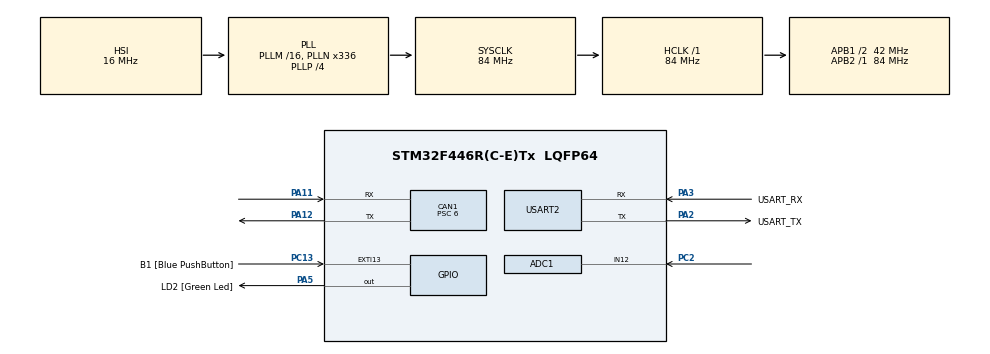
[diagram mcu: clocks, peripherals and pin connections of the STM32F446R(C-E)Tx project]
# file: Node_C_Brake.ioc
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ADC1.Channel-0\#ChannelRegularConversion=ADC_CHANNEL_12
ADC1.NbrOfConversionFlag=1
ADC1.Rank-0\#ChannelRegularConversion=1
ADC1.SamplingTime-0\#ChannelRegularConversion=ADC_SAMPLETIME_3CYCLES
ADC1.master=1
CAN1.BS1=CAN_BS1_11TQ
CAN1.BS2=CAN_BS2_2TQ
CAN1.CalculateBaudRate=500000
CAN1.CalculateTimeBit=2000
CAN1.CalculateTimeQuantum=142.85714285714286
CAN1.NART=ENABLE
CAN1.Prescaler=6
Mcu.Family=STM32F4
Mcu.Name=STM32F446R(C-E)Tx
Mcu.Package=LQFP64
NVIC.CAN1_RX0_IRQn=true\:0\:0\:false\:false\:true\:true\:true\:true
NVIC.PriorityGroup=NVIC_PRIORITYGROUP_0
PA11.GPIO_PuPd=GPIO_PULLUP
PA11.Mode=CAN_Activate
PA11.Signal=CAN1_RX
PA12.Mode=CAN_Activate
PA12.Signal=CAN1_TX
PA13.GPIO_Label=TMS
PA13.Mode=Serial_Wire
PA13.Signal=SYS_JTMS-SWDIO
PA14.GPIO_Label=TCK
PA14.Mode=Serial_Wire
PA14.Signal=SYS_JTCK-SWCLK
PA2.GPIO_Label=USART_TX
PA2.Mode=Asynchronous
PA2.Signal=USART2_TX
PA3.GPIO_Label=USART_RX
PA3.Mode=Asynchronous
PA3.Signal=USART2_RX
PA5.GPIO_Label=LD2 [Green Led]
PA5.Signal=GPIO_Output
PB3.GPIO_Label=SWO
PB3.Signal=SYS_JTDO-SWO
PC13.GPIO_Label=B1 [Blue PushButton]
PC13.GPIO_ModeDefaultEXTI=GPIO_MODE_IT_FALLING
PC13.Signal=GPXTI13
PC14-OSC32_IN.Mode=LSE-External-Oscillator
PC14-OSC32_IN.Signal=RCC_OSC32_IN
PC15-OSC32_OUT.Mode=LSE-External-Oscillator
PC15-OSC32_OUT.Signal=RCC_OSC32_OUT
PC2.Signal=ADCx_IN12
PH0-OSC_IN.Mode=HSE-External-Oscillator
PH0-OSC_IN.Signal=RCC_OSC_IN
PH1-OSC_OUT.Mode=HSE-External-Oscillator
PH1-OSC_OUT.Signal=RCC_OSC_OUT
ProjectManager.HeapSize=0x200
ProjectManager.StackSize=0x400
ProjectManager.TargetToolchain=CMake
RCC.48MHZClocksFreq_Value=84000000
RCC.AHBFreq_Value=84000000
RCC.APB1CLKDivider=RCC_HCLK_DIV2
RCC.APB1Freq_Value=42000000
RCC.APB1TimFreq_Value=84000000
RCC.APB2Freq_Value=84000000
RCC.APB2TimFreq_Value=84000000
RCC.CortexFreq_Value=84000000
RCC.FLatency-AdvancedSettings=FLASH_LATENCY_2
RCC.HCLKFreq_Value=84000000
RCC.HSE_VALUE=8000000
RCC.HSI_VALUE=16000000
RCC.PLLN=336
RCC.PLLP=RCC_PLLP_DIV4
RCC.SYSCLKFreq_VALUE=84000000
RCC.SYSCLKSource=RCC_SYSCLKSOURCE_PLLCLK
RCC.USBFreq_Value=168000000
RCC.VCOOutputFreq_Value=336000000
SH.ADCx_IN12.0=ADC1_IN12,IN12
USART2.VirtualMode=VM_ASYNC
board=NUCLEO-F446RE

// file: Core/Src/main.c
/* USER CODE BEGIN Header */
/**
  ******************************************************************************
  * @file           : main.c
  * @brief          : Main program body
  ******************************************************************************
  * @attention
  *
  * Copyright (c) 2026 STMicroelectronics.
  * All rights reserved.
  *
  * This software is licensed under terms that can be found in the LICENSE file
  * in the root directory of this software component.
  * If no LICENSE file comes with this software, it is provided AS-IS.
  *
  ******************************************************************************
  */
/* USER CODE END Header */
#include "main.h"

/* USER CODE BEGIN Includes */
#include <math.h>
#include <stdint.h>
#include <stdio.h>
#include <string.h>
#include "can_protocol.h"
/* USER CODE END Includes */

ADC_HandleTypeDef hadc1;

CAN_HandleTypeDef hcan1;

UART_HandleTypeDef huart2;

/* USER CODE BEGIN PV */
uint32_t canTxOk = 0;
uint32_t canTxFail = 0;

uint32_t adcRaw = 0;
uint8_t brakePressureInst = 0;
float brakePressureSmoothed = 0.0f;

uint8_t brakeActive = 0;
uint8_t brakeLight = 0;
uint8_t brakeFault = 0;
/* USER CODE END PV */

void SystemClock_Config(void);
static void MX_GPIO_Init(void);
static void MX_ADC1_Init(void);
static void MX_CAN1_Init(void);
static void MX_USART2_UART_Init(void);
/* USER CODE BEGIN PFP */
static uint8_t adc_to_pct(uint32_t adc_raw);
static float clampf(float x, float lo, float hi);
static void uart_brake_debug_print(void);
/* USER CODE END PFP */

/* USER CODE BEGIN 0 */
static float clampf(float x, float lo, float hi)
{
  if (x < lo) return lo;
  if (x > hi) return hi;
  return x;
}

static uint8_t adc_to_pct(uint32_t adc_raw)
{
  if (adc_raw > 4095U) {
    adc_raw = 4095U;
  }

  uint32_t pct = (adc_raw * 100U) / 4095U;

  // Small deadband near 0 to avoid jitter
  if (pct < 3U) {
    pct = 0U;
  }

  if (pct > 100U) {
    pct = 100U;
  }

  return (uint8_t)pct;
}

static void uart_brake_debug_print(void)
{
  char buf[180];

  int n = snprintf(buf, sizeof(buf),
                   "NODE_C BRAKE: ADC=%lu pressure=%u%% sm=%.1f%% active=%u light=%u fault=%u CAN_OK=%lu CAN_FAIL=%lu\r\n",
                   (unsigned long)adcRaw,
                   brakePressureInst,
                   brakePressureSmoothed,
                   brakeActive,
                   brakeLight,
                   brakeFault,
                   (unsigned long)canTxOk,
                   (unsigned long)canTxFail);

  if (n > 0) {
    HAL_UART_Transmit(&huart2, (uint8_t *)buf, (uint16_t)n, 50);
  }
}
/* USER CODE END 0 */

int main(void)
{

  /* MCU Configuration--------------------------------------------------------*/

  /* Reset of all peripherals, Initializes the Flash interface and the Systick. */
  HAL_Init();

  /* Configure the system clock */
  SystemClock_Config();

  /* Initialize all configured peripherals */
  MX_GPIO_Init();
  MX_ADC1_Init();
  MX_CAN1_Init();
  MX_USART2_UART_Init();
  /* USER CODE BEGIN 2 */
  if (HAL_CAN_Start(&hcan1) != HAL_OK) {
    Error_Handler();
  }

  uint32_t lastSenseMs = 0;
  uint32_t lastCanTxMs = 0;
  uint32_t lastUartMs = 0;
  uint32_t lastLedMs = 0;

  const uint32_t SENSE_PERIOD_MS = 10;
  const uint32_t CAN_BRAKE_PERIOD_MS = 50;
  const uint32_t UART_PERIOD_MS = 200;
  const uint32_t LED_PERIOD_MS = 500;

  const float BRAKE_ALPHA = 0.15f;
  /* USER CODE END 2 */

  /* Infinite loop */
  /* USER CODE BEGIN WHILE */
  while (1)
  {
    uint32_t now = HAL_GetTick();

    // 1. Read brake pressure potentiometer and brake button
    if (now - lastSenseMs >= SENSE_PERIOD_MS) {
      lastSenseMs = now;

      if (HAL_ADC_Start(&hadc1) == HAL_OK) {
        if (HAL_ADC_PollForConversion(&hadc1, 10) == HAL_OK) {
          adcRaw = HAL_ADC_GetValue(&hadc1);
          brakePressureInst = adc_to_pct(adcRaw);

          brakePressureSmoothed =
              (1.0f - BRAKE_ALPHA) * brakePressureSmoothed +
              BRAKE_ALPHA * (float)brakePressureInst;
        }

        HAL_ADC_Stop(&hadc1);
      }

      /*
       * On many Nucleo boards:
       * Button released = GPIO_PIN_SET
       * Button pressed  = GPIO_PIN_RESET
       */
      brakeActive = (HAL_GPIO_ReadPin(B1_GPIO_Port, B1_Pin) == GPIO_PIN_RESET) ? 1 : 0;

      brakeLight = brakeActive;
      brakeFault = 0;
    }

    // 2. Send brake status over CAN
    if (now - lastCanTxMs >= CAN_BRAKE_PERIOD_MS) {
      lastCanTxMs = now;

      uint8_t pressureSend = brakeActive
                             ? (uint8_t)clampf(brakePressureSmoothed, 0.0f, 100.0f)
                             : 0;

      if (CAN_Protocol_SendBrakeStatus(
            &hcan1,
            brakeActive,
            pressureSend,
            brakeLight,
            brakeFault
          ) == HAL_OK) {
        canTxOk++;
      } else {
        canTxFail++;
      }
    }

    // 3. UART debug print
    if (now - lastUartMs >= UART_PERIOD_MS) {
      lastUartMs = now;
      uart_brake_debug_print();
    }

    // 4. Heartbeat LED
    if (now - lastLedMs >= LED_PERIOD_MS) {
      lastLedMs = now;
      HAL_GPIO_TogglePin(LD2_GPIO_Port, LD2_Pin);
    }
    /* USER CODE END WHILE */

  }
}

void SystemClock_Config(void)
{
  RCC_OscInitTypeDef RCC_OscInitStruct = {0};
  RCC_ClkInitTypeDef RCC_ClkInitStruct = {0};

  /** Configure the main internal regulator output voltage
  */
  __HAL_RCC_PWR_CLK_ENABLE();
  __HAL_PWR_VOLTAGESCALING_CONFIG(PWR_REGULATOR_VOLTAGE_SCALE3);

  /** Initializes the RCC Oscillators according to the specified parameters
  * in the RCC_OscInitTypeDef structure.
  */
  RCC_OscInitStruct.OscillatorType = RCC_OSCILLATORTYPE_HSI;
  RCC_OscInitStruct.HSIState = RCC_HSI_ON;
  RCC_OscInitStruct.HSICalibrationValue = RCC_HSICALIBRATION_DEFAULT;
  RCC_OscInitStruct.PLL.PLLState = RCC_PLL_ON;
  RCC_OscInitStruct.PLL.PLLSource = RCC_PLLSOURCE_HSI;
  RCC_OscInitStruct.PLL.PLLM = 16;
  RCC_OscInitStruct.PLL.PLLN = 336;
  RCC_OscInitStruct.PLL.PLLP = RCC_PLLP_DIV4;
  RCC_OscInitStruct.PLL.PLLQ = 2;
  RCC_OscInitStruct.PLL.PLLR = 2;
  if (HAL_RCC_OscConfig(&RCC_OscInitStruct) != HAL_OK)
  {
    Error_Handler();
  }

  /** Initializes the CPU, AHB and APB buses clocks
  */
  RCC_ClkInitStruct.ClockType = RCC_CLOCKTYPE_HCLK|RCC_CLOCKTYPE_SYSCLK
                              |RCC_CLOCKTYPE_PCLK1|RCC_CLOCKTYPE_PCLK2;
  RCC_ClkInitStruct.SYSCLKSource = RCC_SYSCLKSOURCE_PLLCLK;
  RCC_ClkInitStruct.AHBCLKDivider = RCC_SYSCLK_DIV1;
  RCC_ClkInitStruct.APB1CLKDivider = RCC_HCLK_DIV2;
  RCC_ClkInitStruct.APB2CLKDivider = RCC_HCLK_DIV1;

  if (HAL_RCC_ClockConfig(&RCC_ClkInitStruct, FLASH_LATENCY_2) != HAL_OK)
  {
    Error_Handler();
  }
}

static void MX_ADC1_Init(void)
{

  ADC_ChannelConfTypeDef sConfig = {0};

  /** Configure the global features of the ADC (Clock, Resolution, Data Alignment and number of conversion)
  */
  hadc1.Instance = ADC1;
  hadc1.Init.ClockPrescaler = ADC_CLOCK_SYNC_PCLK_DIV4;
  hadc1.Init.Resolution = ADC_RESOLUTION_12B;
  hadc1.Init.ScanConvMode = DISABLE;
  hadc1.Init.ContinuousConvMode = DISABLE;
  hadc1.Init.DiscontinuousConvMode = DISABLE;
  hadc1.Init.ExternalTrigConvEdge = ADC_EXTERNALTRIGCONVEDGE_NONE;
  hadc1.Init.ExternalTrigConv = ADC_SOFTWARE_START;
  hadc1.Init.DataAlign = ADC_DATAALIGN_RIGHT;
  hadc1.Init.NbrOfConversion = 1;
  hadc1.Init.DMAContinuousRequests = DISABLE;
  hadc1.Init.EOCSelection = ADC_EOC_SINGLE_CONV;
  if (HAL_ADC_Init(&hadc1) != HAL_OK)
  {
    Error_Handler();
  }

  /** Configure for the selected ADC regular channel its corresponding rank in the sequencer and its sample time.
  */
  sConfig.Channel = ADC_CHANNEL_12;
  sConfig.Rank = 1;
  sConfig.SamplingTime = ADC_SAMPLETIME_3CYCLES;
  if (HAL_ADC_ConfigChannel(&hadc1, &sConfig) != HAL_OK)
  {
    Error_Handler();
  }

}

static void MX_CAN1_Init(void)
{

  hcan1.Instance = CAN1;
  hcan1.Init.Prescaler = 6;
  hcan1.Init.Mode = CAN_MODE_NORMAL;
  hcan1.Init.SyncJumpWidth = CAN_SJW_1TQ;
  hcan1.Init.TimeSeg1 = CAN_BS1_11TQ;
  hcan1.Init.TimeSeg2 = CAN_BS2_2TQ;
  hcan1.Init.TimeTriggeredMode = DISABLE;
  hcan1.Init.AutoBusOff = DISABLE;
  hcan1.Init.AutoWakeUp = DISABLE;
  hcan1.Init.AutoRetransmission = ENABLE;
  hcan1.Init.ReceiveFifoLocked = DISABLE;
  hcan1.Init.TransmitFifoPriority = DISABLE;
  if (HAL_CAN_Init(&hcan1) != HAL_OK)
  {
    Error_Handler();
  }

}

static void MX_USART2_UART_Init(void)
{

  huart2.Instance = USART2;
  huart2.Init.BaudRate = 115200;
  huart2.Init.WordLength = UART_WORDLENGTH_8B;
  huart2.Init.StopBits = UART_STOPBITS_1;
  huart2.Init.Parity = UART_PARITY_NONE;
  huart2.Init.Mode = UART_MODE_TX_RX;
  huart2.Init.HwFlowCtl = UART_HWCONTROL_NONE;
  huart2.Init.OverSampling = UART_OVERSAMPLING_16;
  if (HAL_UART_Init(&huart2) != HAL_OK)
  {
    Error_Handler();
  }

}

static void MX_GPIO_Init(void)
{
  GPIO_InitTypeDef GPIO_InitStruct = {0};

  /* GPIO Ports Clock Enable */
  __HAL_RCC_GPIOC_CLK_ENABLE();
  __HAL_RCC_GPIOH_CLK_ENABLE();
  __HAL_RCC_GPIOA_CLK_ENABLE();
  __HAL_RCC_GPIOB_CLK_ENABLE();

  /*Configure GPIO pin Output Level */
  HAL_GPIO_WritePin(LD2_GPIO_Port, LD2_Pin, GPIO_PIN_RESET);

  /*Configure GPIO pin : B1_Pin */
  GPIO_InitStruct.Pin = B1_Pin;
  GPIO_InitStruct.Mode = GPIO_MODE_IT_FALLING;
  GPIO_InitStruct.Pull = GPIO_NOPULL;
  HAL_GPIO_Init(B1_GPIO_Port, &GPIO_InitStruct);

  /*Configure GPIO pin : LD2_Pin */
  GPIO_InitStruct.Pin = LD2_Pin;
  GPIO_InitStruct.Mode = GPIO_MODE_OUTPUT_PP;
  GPIO_InitStruct.Pull = GPIO_NOPULL;
  GPIO_InitStruct.Speed = GPIO_SPEED_FREQ_LOW;
  HAL_GPIO_Init(LD2_GPIO_Port, &GPIO_InitStruct);

}

void Error_Handler(void)
{
  __disable_irq();
  while (1)
  {
  }
}
